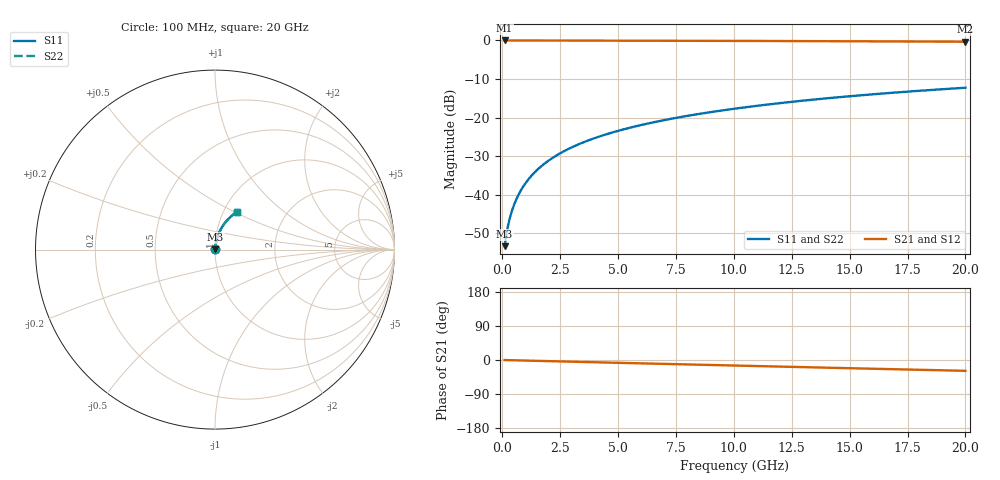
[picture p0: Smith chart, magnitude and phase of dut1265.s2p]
! Touchstone file exported from HFSS 2026.1.0
!  File:  C:/ffzhzh/LocalFiles/Ansys_Project_Files/temp_train_TMRDL_1265_1783164059_55132.aedt
!  Generated:  07:22:17 PM Jul  4, 2026
!  Design:  TMRDL
!  Project:  temp_train_TMRDL_1265_1783164059_55132
! Variables:
!  h_bsmrdl = 2um
!  h_ox = 20um
!  h_rdl = 5um
!  h_sub = 80um
!  h_tmrdl = 5.19um
!  h_tsv = 80um
!  h_via = 3um
!  l_bsmrdl = 300um
!  l_sub = 821.06um
!  l_tmrdl = 421.06um
!  m_sub = 200um
!  pitch = 42.68um
!  r_tsv = 6um
!  s_tmrdl = 10um
!  w_bsmrdl = 18um
!  w_sub = 500um
!  w_tmrdl = 20.94um
!  x_tsv_center1 = 431.53um
!  x_tsv_center2 = 749.53um
!  x_tsv_center3 = 1191.53um
!  x_tsv_center4 = 1509.53um
!  x_tsv_center5 = 1951.53um
!  x_tsv_center6 = 2269.53um
# GHz S MA R 50.000000
! Terminal data exported
! Port[1] = TM_RDL1_1_T1
! Port[2] = TM_RDL1_1_T2
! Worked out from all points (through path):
!   200 points, 100 MHz to 20 GHz, reference 50 ohm
!   highest |S21| = -0.01 dB at 100 MHz (marker M1); lowest = -0.3 dB at 20 GHz (marker M2)
!   group delay of S21, straight-line fit = 3.96 ps
!   lowest |S11| = -53.3 dB at 100 MHz (marker M3), VSWR 1.00, Z = 50.2 + j0.153 ohm
!   |S11| at or under -10 dB: start of sweep to end of sweep
!   |S22| runs from -53.3 to -12.3 dB; largest |S21 - S12| = 2.6e-15
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0.1  0.002162 44.8  0.9985 -0.2  0.9985 -0.2  0.002162 44.8
! Gamma 0 0 0 0
! Port Impedance 50 0 50 0
0.2  0.003387 60.8  0.9984 -0.3  0.9984 -0.3  0.003387 60.8
0.3  0.00468 68.0  0.9983 -0.5  0.9983 -0.5  0.00468 68.0
0.4  0.005994 72.2  0.9982 -0.6  0.9982 -0.6  0.005994 72.2
0.5  0.007326 74.9  0.9982 -0.8  0.9982 -0.8  0.007326 74.9
0.6  0.00867 76.8  0.9981 -0.9  0.9981 -0.9  0.00867 76.8
0.8  0.01138 79.1  0.998 -1.2  0.998 -1.2  0.01138 79.1
1.1  0.01548 80.9  0.9979 -1.7  0.9979 -1.7  0.01548 80.9
1.5  0.02095 81.8  0.9976 -2.3  0.9976 -2.3  0.02095 81.8
1.8  0.02504 82.0  0.9974 -2.7  0.9974 -2.7  0.02504 82.0
2.1  0.02911 82.0  0.9971 -3.2  0.9971 -3.2  0.02911 82.0
2.7  0.03719 81.7  0.9965 -4.1  0.9965 -4.1  0.03719 81.7
3.5  0.04783 80.9  0.9956 -5.2  0.9956 -5.2  0.04783 80.9
4.2  0.05702 80.1  0.9948 -6.3  0.9948 -6.3  0.05702 80.1
5  0.0674 79.1  0.9937 -7.4  0.9937 -7.4  0.0674 79.1
5.9  0.07894 78.0  0.9924 -8.7  0.9924 -8.7  0.07894 78.0
6.8  0.09036 76.9  0.9911 -10.0  0.9911 -10.0  0.09036 76.9
8.3  0.1092 75.0  0.9886 -12.2  0.9886 -12.2  0.1092 75.0
10.1  0.1313 72.6  0.9854 -14.8  0.9854 -14.8  0.1313 72.6
13.4  0.1707 68.3  0.9785 -19.4  0.9785 -19.4  0.1707 68.3
16.7  0.2082 63.9  0.9705 -24.0  0.9705 -24.0  0.2083 63.9
20  0.2438 59.5  0.9617 -28.6  0.9617 -28.6  0.2438 59.5
